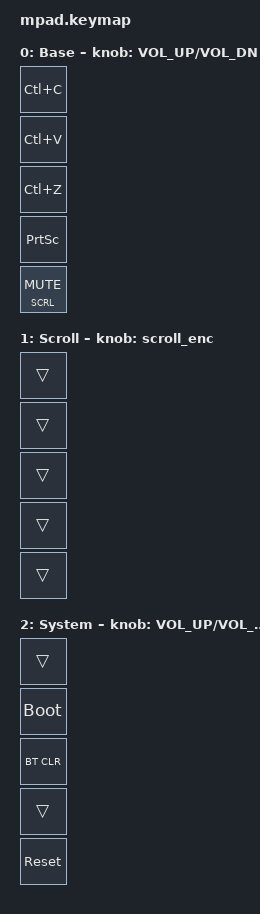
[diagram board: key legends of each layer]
// File: config/mpad.keymap
/*
 * レイヤー
 *   BASE : Ctrl+C / Ctrl+V / Ctrl+Z / Ctrl+Y、エンコーダ押下=ミュート、回転=音量
 *   SCRL : エンコーダを押している間。回転=スクロール
 *   SYS  : KEY1+KEY4 を押している間（コンボ）。KEY2=ブートローダ、KEY3=現在のBTペア解除、ENC押下=再起動
 *
 * キー位置: 0=KEY1(最上段) 1=KEY2 2=KEY3 3=KEY4(最下段) 4=エンコーダ押下
 */

/* スクロール量（実機で調整。ZMK の既定は 10） */
#define ZMK_POINTING_DEFAULT_SCRL_VAL 10

#include <behaviors.dtsi>
#include <dt-bindings/zmk/keys.h>
#include <dt-bindings/zmk/bt.h>
#include <dt-bindings/zmk/pointing.h>

#define BASE 0
#define SCRL 1
#define SYS  2

/* エンコーダ回転のスクロールを1クリックで一定量にする */
&msc {
    acceleration-exponent = <0>;
    time-to-max-speed-ms = <0>;
    delay-ms = <0>;
};

/ {
    behaviors {
        /* 短押し(200ms未満で離す)=ミュート、押している間=SCRLレイヤー */
        enc_ht: enc_hold_tap {
            compatible = "zmk,behavior-hold-tap";
            #binding-cells = <2>;
            flavor = "hold-preferred";
            tapping-term-ms = <200>;
            hold-while-undecided;
            bindings = <&mo>, <&kp>;
        };

        /* 回転1クリック=スクロール1回分 */
        scroll_enc: scroll_encoder {
            compatible = "zmk,behavior-sensor-rotate";
            #sensor-binding-cells = <0>;
            bindings = <&msc SCRL_UP>, <&msc SCRL_DOWN>;
            tap-ms = <20>;
        };
    };

    combos {
        compatible = "zmk,combos";

        combo_sys {
            timeout-ms = <80>;
            key-positions = <0 3>;
            bindings = <&mo SYS>;
        };
    };

    keymap {
        compatible = "zmk,keymap";

        base_layer {
            display-name = "Base";
            bindings = <
                &kp LC(C)
                &kp LC(V)
                &kp LC(Z)
                &kp PSCRN
                &enc_ht SCRL C_MUTE
            >;
            sensor-bindings = <&inc_dec_kp C_VOL_UP C_VOL_DN>;
        };

        scroll_layer {
            display-name = "Scroll";
            bindings = <
                &trans
                &trans
                &trans
                &trans
                &trans
            >;
            sensor-bindings = <&scroll_enc>;
        };

        sys_layer {
            display-name = "System";
            bindings = <
                &trans
                &bootloader
                &bt BT_CLR
                &trans
                &sys_reset
            >;
            sensor-bindings = <&inc_dec_kp C_VOL_UP C_VOL_DN>;
        };
    };
};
